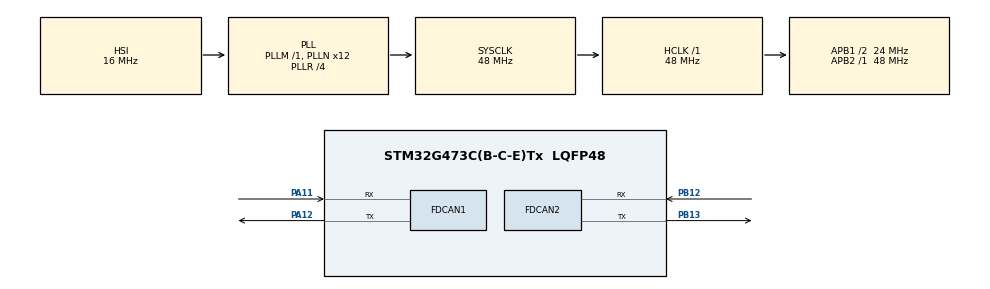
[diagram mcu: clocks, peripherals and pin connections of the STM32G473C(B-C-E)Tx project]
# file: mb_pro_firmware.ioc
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FDCAN1.CalculateBaudRateNominal=1000000
FDCAN1.CalculateTimeBitNominal=1000
FDCAN1.CalculateTimeQuantumNominal=83.33333333333333
FDCAN1.ExtFiltersNbr=0
FDCAN1.NominalPrescaler=2
FDCAN1.NominalTimeSeg1=7
FDCAN1.NominalTimeSeg2=4
FDCAN1.StdFiltersNbr=8
FDCAN1.TxFifoQueueMode=FDCAN_TX_FIFO_OPERATION
FDCAN2.CalculateBaudRateNominal=1000000
FDCAN2.CalculateTimeBitNominal=1000
FDCAN2.CalculateTimeQuantumNominal=83.33333333333333
FDCAN2.NominalPrescaler=2
FDCAN2.NominalTimeSeg1=7
FDCAN2.NominalTimeSeg2=4
FDCAN2.StdFiltersNbr=5
FDCAN2.TxFifoQueueMode=FDCAN_TX_FIFO_OPERATION
Mcu.Family=STM32G4
Mcu.Name=STM32G473C(B-C-E)Tx
Mcu.Package=LQFP48
NVIC.FDCAN1_IT0_IRQn=true\:0\:0\:false\:false\:true\:true\:true\:true
NVIC.FDCAN1_IT1_IRQn=true\:0\:0\:false\:false\:true\:true\:true\:true
NVIC.FDCAN2_IT0_IRQn=true\:0\:0\:false\:false\:true\:true\:true\:true
NVIC.FDCAN2_IT1_IRQn=true\:0\:0\:false\:false\:true\:true\:true\:true
NVIC.PriorityGroup=NVIC_PRIORITYGROUP_4
NVIC.TIM6_DAC_IRQn=true\:0\:0\:false\:false\:true\:true\:true\:true
PA11.Mode=FDCAN_Activate
PA11.Signal=FDCAN1_RX
PA12.Mode=FDCAN_Activate
PA12.Signal=FDCAN1_TX
PA13.Mode=Trace_Asynchronous_SW
PA13.Signal=SYS_JTMS-SWDIO
PA14.Mode=Trace_Asynchronous_SW
PA14.Signal=SYS_JTCK-SWCLK
PB12.Mode=FDCAN_Activate
PB12.Signal=FDCAN2_RX
PB13.Mode=FDCAN_Activate
PB13.Signal=FDCAN2_TX
PB3.Mode=Trace_Asynchronous_SW
PB3.Signal=SYS_JTDO-SWO
ProjectManager.HeapSize=0x200
ProjectManager.StackSize=0x400
ProjectManager.TargetToolchain=CMake
RCC.ADC12Freq_Value=48000000
RCC.ADC345Freq_Value=48000000
RCC.AHBFreq_Value=48000000
RCC.APB1CLKDivider=RCC_HCLK_DIV2
RCC.APB1Freq_Value=24000000
RCC.APB1TimFreq_Value=48000000
RCC.APB2Freq_Value=48000000
RCC.APB2TimFreq_Value=48000000
RCC.CortexFreq_Value=48000000
RCC.EXTERNAL_CLOCK_VALUE=12288000
RCC.HCLKFreq_Value=48000000
RCC.HSE_VALUE=8000000
RCC.HSI48_VALUE=48000000
RCC.HSI_VALUE=16000000
RCC.LSE_VALUE=32768
RCC.PLLN=12
RCC.PLLR=RCC_PLLR_DIV4
RCC.SYSCLKFreq_VALUE=48000000
RCC.SYSCLKSource=RCC_SYSCLKSOURCE_PLLCLK
RCC.USBFreq_Value=96000000
RCC.VCOOutputFreq_Value=192000000
TIM6.PeriodNoDither=4999
TIM6.Prescaler=47
VP_SYS_VS_DBSignals.Mode=DisableDeadBatterySignals
VP_TIM6_VS_ClockSourceINT.Mode=Enable_Timer
board=custom

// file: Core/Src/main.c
/* USER CODE BEGIN Header */
/**
  ******************************************************************************
  * @file           : main.c
  * @brief          : Main program body
  ******************************************************************************
  * @attention
  *
  * Copyright (c) 2025 STMicroelectronics.
  * All rights reserved.
  *ramped
  * This software is licensed under terms that can be found in the LICENSE file
  * in the root directory of this software component.
  * If no LICENSE file comes with this software, it is provided AS-IS.
  *
  ******************************************************************************
  */
/* USER CODE END Header */
#include "main.h"
#include "fdcan.h"
#include "tim.h"
#include "gpio.h"

/* USER CODE BEGIN PD */
uint32_t id_own;
uint32_t id_angle;
SpeedController speed_controller[8] = { 0 };
AngleController angle_controller[4] = { 0 };
/* USER CODE END PD */

/* USER CODE BEGIN PM */
float KP  = 0.01f;
float KI  = 0.0001f;
float KD  = 0.f;

float DT = 0.05f;

float ANGLE_KP  = 0.0001f;
float ANGLE_KI  = 0.002f;
float ANGLE_KD  = 0.f;
float ANGLE_DT  = 0.0001f;

#define INTEGRAL_MAX (4000.0f)
#define INTEGRAL_MIN (-4000.0f)

#define CURRENT_MAX (15.f)
#define CURRENT_MIN (-15.f)

#define MAX_DIFF_RPM 30

#define NORMALIZED_MAX (16384)
#define NORMALIZED_MIN (-16384)

/* USER CODE END PM */

void SystemClock_Config(void);

int main(void)
{

  /* USER CODE BEGIN 1 */
  // for (size_t i = 0; i < 4; i++) {
  //   angle_controller[i].motors.fusion_cnt = -1;
  // }

  /* USER CODE END 1 */

  /* MCU Configuration--------------------------------------------------------*/

  /* Reset of all peripherals, Initializes the Flash interface and the Systick. */
  HAL_Init();

  /* Configure the system clock */
  SystemClock_Config();

  /* Initialize all configured peripherals */
  MX_GPIO_Init();
  MX_FDCAN1_Init();
  MX_FDCAN2_Init();
  MX_TIM6_Init();

  /* Infinite loop */
  while (1)
  {

  }
}

void SystemClock_Config(void)
{
  RCC_OscInitTypeDef RCC_OscInitStruct = {0};
  RCC_ClkInitTypeDef RCC_ClkInitStruct = {0};

  /** Configure the main internal regulator output voltage
  */
  HAL_PWREx_ControlVoltageScaling(PWR_REGULATOR_VOLTAGE_SCALE1);

  /** Initializes the RCC Oscillators according to the specified parameters
  * in the RCC_OscInitTypeDef structure.
  */
  RCC_OscInitStruct.OscillatorType = RCC_OSCILLATORTYPE_HSI;
  RCC_OscInitStruct.HSIState = RCC_HSI_ON;
  RCC_OscInitStruct.HSICalibrationValue = RCC_HSICALIBRATION_DEFAULT;
  RCC_OscInitStruct.PLL.PLLState = RCC_PLL_ON;
  RCC_OscInitStruct.PLL.PLLSource = RCC_PLLSOURCE_HSI;
  RCC_OscInitStruct.PLL.PLLM = RCC_PLLM_DIV1;
  RCC_OscInitStruct.PLL.PLLN = 12;
  RCC_OscInitStruct.PLL.PLLP = RCC_PLLP_DIV2;
  RCC_OscInitStruct.PLL.PLLQ = RCC_PLLQ_DIV2;
  RCC_OscInitStruct.PLL.PLLR = RCC_PLLR_DIV4;
  if (HAL_RCC_OscConfig(&RCC_OscInitStruct) != HAL_OK)
  {
    Error_Handler();
  }

  /** Initializes the CPU, AHB and APB buses clocks
  */
  RCC_ClkInitStruct.ClockType = RCC_CLOCKTYPE_HCLK|RCC_CLOCKTYPE_SYSCLK
                              |RCC_CLOCKTYPE_PCLK1|RCC_CLOCKTYPE_PCLK2;
  RCC_ClkInitStruct.SYSCLKSource = RCC_SYSCLKSOURCE_PLLCLK;
  RCC_ClkInitStruct.AHBCLKDivider = RCC_SYSCLK_DIV1;
  RCC_ClkInitStruct.APB1CLKDivider = RCC_HCLK_DIV2;
  RCC_ClkInitStruct.APB2CLKDivider = RCC_HCLK_DIV1;

  if (HAL_RCC_ClockConfig(&RCC_ClkInitStruct, FLASH_LATENCY_1) != HAL_OK)
  {
    Error_Handler();
  }
}

/* USER CODE BEGIN 4 */
/**
  * @brief  目標rpmと前周期の指示rpmを元にこの制御周期のramped_target_rpmを計算する
  * @param  target_rpm 最終的な目標のrpm値
  * @param  pre_ramped_rpm 前周期で算出した加速度でクリップされたrpm
  * @retval 加速度でクリップされたrpm
  */
float rampedRPM(float target_rpm, float pre_ramped_rpm) {
  float diff_rpm = target_rpm - pre_ramped_rpm;

  float ramped_rpm;

  if (diff_rpm > MAX_DIFF_RPM) {
    ramped_rpm = pre_ramped_rpm + MAX_DIFF_RPM;
  } else if (diff_rpm < -MAX_DIFF_RPM) {
    ramped_rpm = pre_ramped_rpm - MAX_DIFF_RPM;
  } else {
    ramped_rpm = target_rpm;
  }

  return ramped_rpm;
}

/**
  * @brief  target_rpmとnow_rpmを元に電流値を算出する
  * @param  target_rpm 目標のrpm int16_t
  * @param  now_rpm 現在のrpm int16_t
  * @retval 電流値，-20A ~ 20Aを-16384 ~ 16384の範囲に正規化
  */
int16_t rotateSpeed(SpeedController *cnt_) {
  cnt_->error = cnt_->target.ramped_rpm - cnt_->motors.rpm;

  cnt_->p = cnt_->error;
  float p_term = KP * cnt_->error;

  cnt_->i += cnt_->error * DT;
  if (cnt_->i > INTEGRAL_MAX) {
    cnt_->i = INTEGRAL_MAX;
  } else if (cnt_->i < INTEGRAL_MIN) {
    cnt_->i = INTEGRAL_MIN;
  }
  float i_term = KI * cnt_->i;
  cnt_->pre_error = cnt_->error;

  float output_current = p_term + i_term;
  if (output_current > CURRENT_MAX) {
    output_current = CURRENT_MAX;
  } else if (output_current < CURRENT_MIN) {
    output_current = CURRENT_MIN;
  }
  int16_t normalized_current = (int16_t)((output_current / 20.0) * NORMALIZED_MAX);

  return normalized_current;
}

// int16_t rotateAngle(AngleController *cnt_) {
//   cnt_->error = (float)(cnt_->target.fusion_cnt - cnt_->motors.fusion_cnt);

//   cnt_->p = cnt_->error;
//   float p_term = ANGLE_KP * cnt_->error;

//   cnt_->i += cnt_->error * ANGLE_DT;
//   if (cnt_->i > INTEGRAL_MAX) {
//     cnt_->i = INTEGRAL_MAX;
//   } else if (cnt_->i < INTEGRAL_MIN) {
//     cnt_->i = INTEGRAL_MIN;
//   }
//   float i_term = ANGLE_KI * cnt_->i;
//   cnt_->pre_error = cnt_->error;

//   float output_current = p_term + i_term;
//   if (output_current > CURRENT_MAX) {
//     output_current = CURRENT_MAX;
//   } else if (output_current < CURRENT_MIN) {
//     output_current = CURRENT_MIN;
//   }
//   int16_t normalized_current = (int16_t)((output_current / 20.0) * 10000);

//   return normalized_current;
// }

void HAL_TIM_PeriodElapsedCallback(TIM_HandleTypeDef *htim) {
  if (htim->Instance == TIM6) {
    __HAL_TIM_CLEAR_FLAG(&htim6, TIM_IT_UPDATE);

    FDCAN_TxHeaderTypeDef tx_header;
    uint8_t tx_datas[8] = { 0 };

    tx_header.Identifier = 0x200;
    tx_header.IdType = FDCAN_STANDARD_ID;
    tx_header.TxFrameType = FDCAN_DATA_FRAME;
    tx_header.DataLength = FDCAN_DLC_BYTES_8;
    tx_header.ErrorStateIndicator = FDCAN_ESI_ACTIVE;
    tx_header.BitRateSwitch = FDCAN_BRS_OFF;
    tx_header.FDFormat = FDCAN_CLASSIC_CAN;

    for (size_t i = 0; i < 4; i++) {
      if (speed_controller[i].target.mode != SPEED) { continue; }

      speed_controller[i].target.pre_ramped_rpm = speed_controller[i].target.ramped_rpm;

      speed_controller[i].target.ramped_rpm = rampedRPM(speed_controller[i].target.rpm, speed_controller[i].target.pre_ramped_rpm);

      int16_t current = rotateSpeed(&speed_controller[i]);

      tx_datas[i * 2] = ((current >> 8) & 0xFF);
      tx_datas[i * 2 + 1] = (current & 0xFF);
    }
    HAL_FDCAN_AddMessageToTxFifoQ(&hfdcan2, &tx_header, tx_datas);

    tx_header.Identifier = 0x1FF;
    for (size_t i = 0; i < 4; i++) {
      if (speed_controller[i + 4].target.mode != SPEED) {
        tx_datas[i * 2] = 0;
        tx_datas[i * 2 + 1] = 0;
        continue;
      }

      speed_controller[i + 4].target.pre_ramped_rpm = speed_controller[i + 4].target.ramped_rpm;

      speed_controller[i + 4].target.ramped_rpm = rampedRPM(speed_controller[i + 4].target.rpm, speed_controller[i + 4].target.pre_ramped_rpm);

      int16_t current = rotateSpeed(&speed_controller[i + 4]);

      tx_datas[i * 2] = ((current >> 8) & 0xFF);
      tx_datas[i * 2 + 1] = (current & 0xFF);
    }
    HAL_FDCAN_AddMessageToTxFifoQ(&hfdcan2, &tx_header, tx_datas);

    /* 角度制御 */
    tx_header.Identifier = 0x200;
    angle_controller[0].target.mode = ANGLE;
    angle_controller[1].target.mode = ANGLE;
    angle_controller[2].target.mode = ANGLE;
    angle_controller[3].target.mode = ANGLE;
    for (size_t i = 0; i < 4; i++) {
      if (angle_controller[i].target.mode != ANGLE) {
        tx_datas[i * 2] = 0;
        tx_datas[i * 2 + 1] = 0;
        continue;
      }
      // int16_t current_1 = 10000;
      // int16_t current_2 = -10000;
      // tx_datas[0] = ((current_1 >> 8) & 0xFF);
      // tx_datas[1] = (current_1 & 0xFF);
      // tx_datas[2] = ((current_2 >> 8) & 0xFF);
      // tx_datas[3] = (current_2 & 0xFF);

      // int16_t current = rotateAngle(&angle_controller[i]);

      // int16_t angle_diff = angle_controller[i].motors.pre_fusion_cnt - angle_controller[i].motors.fusion_cnt;

      // if (abs(angle_controller[i].motors.first_fusion_cnt - angle_controller[i].motors.fusion_cnt) > 10000) {
      //   if (abs(angle_diff) < 250) {
      //     if (angle_controller[i].target.current > (int16_t)((7.0 / 20.0) * 10000)) {
      //       angle_controller[i].target.current = (int16_t)((4.9 / 20.0) * 10000);
      //     }
      //   }
      // }
      int16_t current = angle_controller[i].target.current;

      // angle_controller[i].motors.pre_fusion_cnt = angle_controller[i].motors.fusion_cnt;

      tx_datas[i * 2] = ((current >> 8) & 0xFF);
      tx_datas[i * 2 + 1] = (current & 0xFF);
    }
    HAL_FDCAN_AddMessageToTxFifoQ(&hfdcan1, &tx_header, tx_datas);
  }

}
/* USER CODE END 4 */

void Error_Handler(void)
{
  __disable_irq();
  while (1)
  {
  }
}
